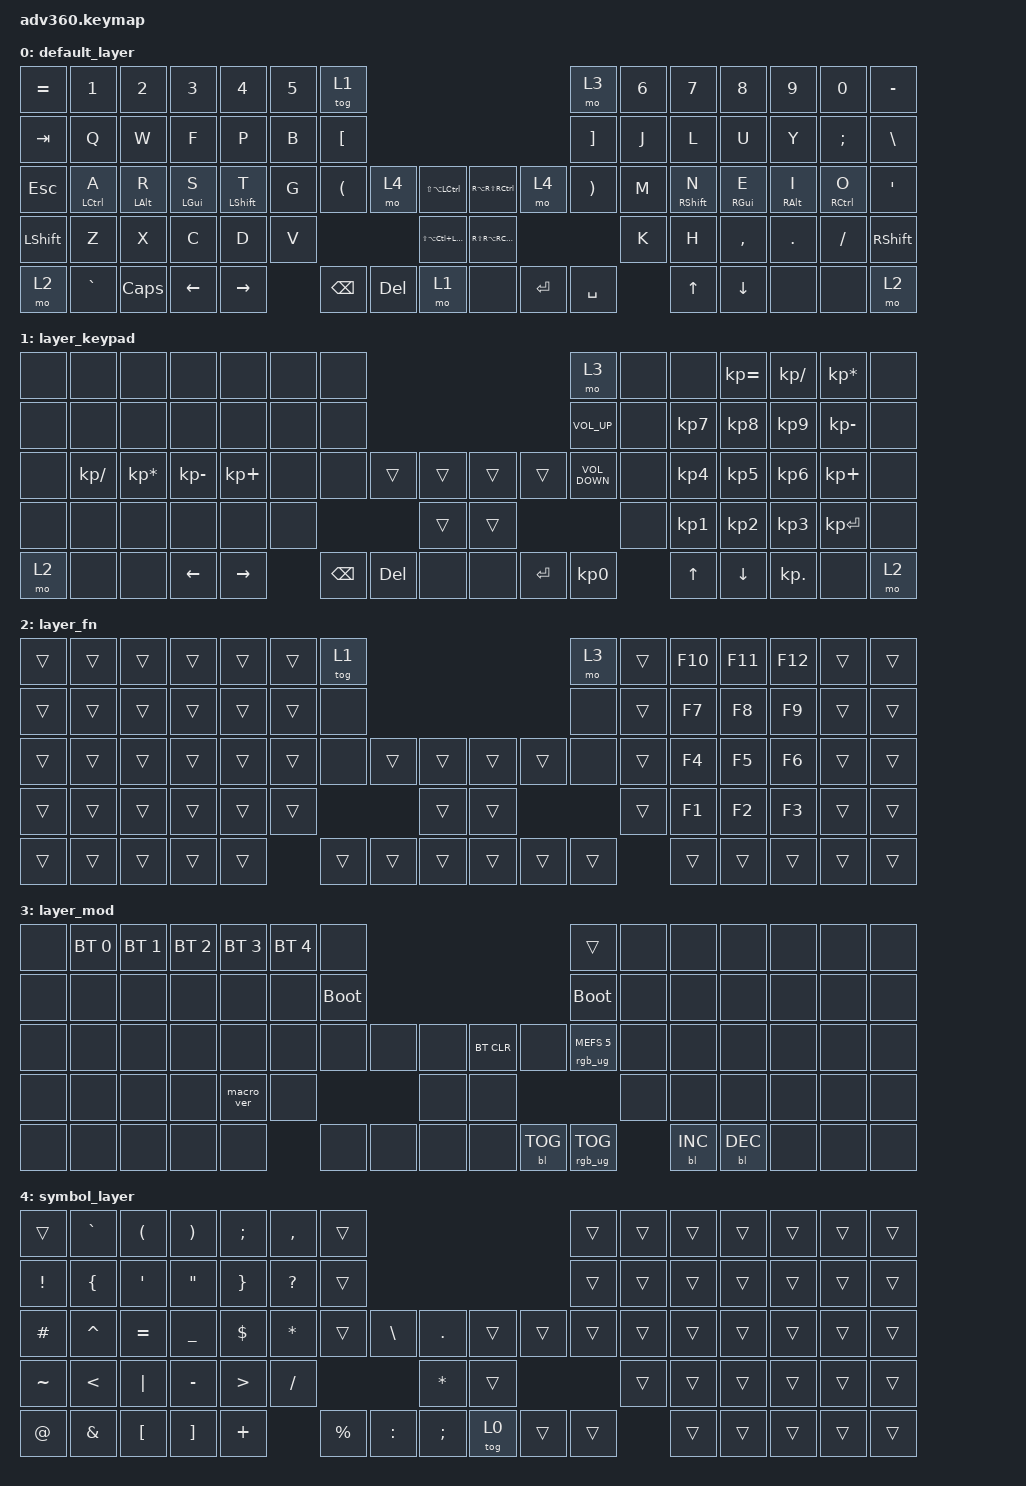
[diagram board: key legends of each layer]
/*
 * Copyright (c) 2020 The ZMK Contributors
 *
 * SPDX-License-Identifier: MIT
 */
/* THIS FILE WAS GENERATED!
 *
 * This file was generated automatically. You may or may not want to
 * edit it directly.
 */

#include <behaviors.dtsi>
#include <dt-bindings/zmk/backlight.h>
#include <dt-bindings/zmk/bt.h>
#include <dt-bindings/zmk/keys.h>
#include <dt-bindings/zmk/rgb.h>

/ {
    behaviors {
        #include "macros.dtsi"
    #include "version.dtsi"
    #include "specialkeys.dtsi"

        hm: homerow_mods {
            compatible = "zmk,behavior-hold-tap";
            label = "HOMEROW_MODS";
            #binding-cells = <2>;
            tapping-term-ms = <200>;
            quick_tap_ms = <175>;
            flavor = "balanced";
            bindings = <&kp>, <&kp>;
        };
    };

    keymap {
        compatible = "zmk,keymap";

        default_layer {
            bindings = <
&kp EQUAL  &kp N1              &kp N2      &kp N3      &kp N4       &kp N5  &tog 1                                                                                    &mo 3                  &kp N6  &kp N7             &kp N8      &kp N9           &kp N0         &kp MINUS
&kp TAB    &kp Q               &kp W       &kp F       &kp P        &kp B   &kp LEFT_BRACKET                                                                          &kp RIGHT_BRACKET      &kp J   &kp L              &kp U       &kp Y            &kp SEMICOLON  &kp BSLH
&kp ESC    &hm LEFT_CONTROL A  &hm LALT R  &hm LGUI S  &hm LSHFT T  &kp G   &kp LEFT_PARENTHESIS  &mo 4    &kp LS(LA(LCTRL))         &kp RA(RS(RCTRL))     &mo 4      &kp RIGHT_PARENTHESIS  &kp M   &hm RIGHT_SHIFT N  &hm RGUI E  &hm RIGHT_ALT I  &hm RCTRL O    &kp SQT
&kp LSHFT  &kp Z               &kp X       &kp C       &kp D        &kp V                                  &kp LS(LA(LC(LGUI)))      &kp RS(RA(RC(RGUI)))                                    &kp K   &kp H              &kp COMMA   &kp DOT          &kp FSLH       &kp RSHFT
&mo 2      &kp GRAVE           &kp CAPS    &kp LEFT    &kp RIGHT            &kp BSPC              &kp DEL  &mo 1                     &none                 &kp ENTER  &kp SPACE                      &kp UP             &kp DOWN    &none            &none          &mo 2
            >;
        };

        layer_keypad {
            bindings = <
&none  &none          &none            &none         &none        &none  &none                                             &mo 3              &none  &none      &kp KP_EQUAL  &kp KP_DIVIDE  &kp KP_MULTIPLY  &none
&none  &none          &none            &none         &none        &none  &none                                             &kp C_VOLUME_UP    &none  &kp KP_N7  &kp KP_N8     &kp KP_N9      &kp KP_MINUS     &none
&none  &kp KP_DIVIDE  &kp KP_MULTIPLY  &kp KP_MINUS  &kp KP_PLUS  &none  &none     &trans   &trans      &trans  &trans     &kp C_VOLUME_DOWN  &none  &kp KP_N4  &kp KP_N5     &kp KP_N6      &kp KP_PLUS      &none
&none  &none          &none            &none         &none        &none                     &trans      &trans                                &none  &kp KP_N1  &kp KP_N2     &kp KP_N3      &kp KP_ENTER     &none
&mo 2  &none          &none            &kp LEFT      &kp RIGHT           &kp BSPC  &kp DEL  &none       &none   &kp ENTER  &kp KP_N0                 &kp UP     &kp DOWN      &kp KP_DOT     &none            &mo 2
            >;
        };

        layer_fn {
            bindings = <
&trans  &trans  &trans  &trans  &trans  &trans  &tog 1                                      &mo 3   &trans  &kp F10  &kp F11  &kp F12  &trans  &trans
&trans  &trans  &trans  &trans  &trans  &trans  &none                                       &none   &trans  &kp F7   &kp F8   &kp F9   &trans  &trans
&trans  &trans  &trans  &trans  &trans  &trans  &none   &trans  &trans      &trans  &trans  &none   &trans  &kp F4   &kp F5   &kp F6   &trans  &trans
&trans  &trans  &trans  &trans  &trans  &trans                  &trans      &trans                  &trans  &kp F1   &kp F2   &kp F3   &trans  &trans
&trans  &trans  &trans  &trans  &trans          &trans  &trans  &trans      &trans  &trans  &trans          &trans   &trans   &trans   &trans  &trans
            >;
        };

        layer_mod {
            bindings = <
&none  &bt BT_SEL 0  &bt BT_SEL 1  &bt BT_SEL 2  &bt BT_SEL 3  &bt BT_SEL 4  &none                                                  &trans                  &none  &none       &none       &none  &none  &none
&none  &none         &none         &none         &none         &none         &bootloader                                            &bootloader             &none  &none       &none       &none  &none  &none
&none  &none         &none         &none         &none         &none         &none        &none  &none      &bt BT_CLR  &none       &rgb_ug RGB_MEFS_CMD 5  &none  &none       &none       &none  &none  &none
&none  &none         &none         &none         &macro_ver    &none                             &none      &none                                           &none  &none       &none       &none  &none  &none
&none  &none         &none         &none         &none                       &none        &none  &none      &none       &bl BL_TOG  &rgb_ug RGB_TOG                &bl BL_INC  &bl BL_DEC  &none  &none  &none
            >;
        };

        symbol_layer {
            bindings = <
&trans     &kp GRAVE       &kp LEFT_PARENTHESIS  &kp RIGHT_PARENTHESIS  &kp SEMICOLON    &kp COMMA     &trans                                                         &trans  &trans  &trans  &trans  &trans  &trans  &trans
&kp EXCL   &kp LEFT_BRACE  &kp SINGLE_QUOTE      &kp DOUBLE_QUOTES      &kp RIGHT_BRACE  &kp QUESTION  &trans                                                         &trans  &trans  &trans  &trans  &trans  &trans  &trans
&kp POUND  &kp CARET       &kp EQUAL             &kp UNDER              &kp DOLLAR       &kp STAR      &trans       &kp BACKSLASH  &kp PERIOD         &trans  &trans  &trans  &trans  &trans  &trans  &trans  &trans  &trans
&kp TILDE  &kp LESS_THAN   &kp PIPE              &kp MINUS              &kp GT           &kp SLASH                                 &kp ASTERISK       &trans                  &trans  &trans  &trans  &trans  &trans  &trans
&kp AT     &kp AMPS        &kp LEFT_BRACKET      &kp RIGHT_BRACKET      &kp PLUS                       &kp PERCENT  &kp COLON      &kp SEMICOLON      &tog 0  &trans  &trans          &trans  &trans  &trans  &trans  &trans
            >;
        };
    };
};
